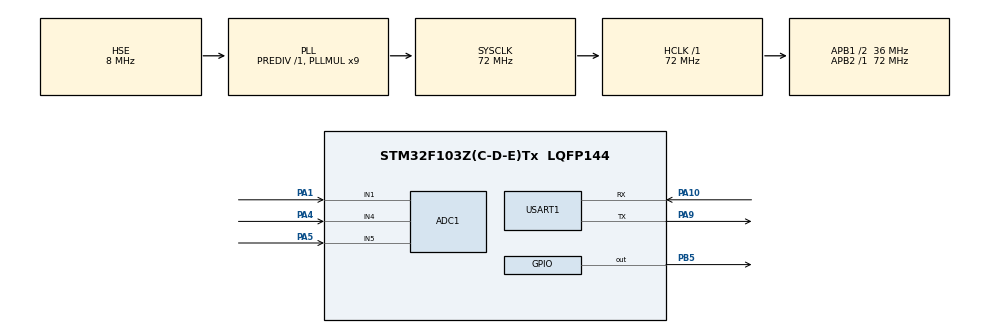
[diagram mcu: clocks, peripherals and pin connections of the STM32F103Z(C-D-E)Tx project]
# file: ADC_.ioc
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ADC1.Channel-0\#ChannelRegularConversion=ADC_CHANNEL_1
ADC1.Channel-1\#ChannelRegularConversion=ADC_CHANNEL_4
ADC1.Channel-2\#ChannelRegularConversion=ADC_CHANNEL_5
ADC1.Channel-3\#ChannelRegularConversion=ADC_CHANNEL_TEMPSENSOR
ADC1.Channel-4\#ChannelRegularConversion=ADC_CHANNEL_VREFINT
ADC1.ContinuousConvMode=DISABLE
ADC1.DiscontinuousConvMode=ENABLE
ADC1.EnableInjectedConversion=DISABLE
ADC1.NbrOfConversion=5
ADC1.NbrOfConversionFlag=1
ADC1.Rank-0\#ChannelRegularConversion=1
ADC1.Rank-1\#ChannelRegularConversion=2
ADC1.Rank-2\#ChannelRegularConversion=3
ADC1.Rank-3\#ChannelRegularConversion=4
ADC1.Rank-4\#ChannelRegularConversion=5
ADC1.SamplingTime-0\#ChannelRegularConversion=ADC_SAMPLETIME_1CYCLE_5
ADC1.SamplingTime-1\#ChannelRegularConversion=ADC_SAMPLETIME_1CYCLE_5
ADC1.SamplingTime-2\#ChannelRegularConversion=ADC_SAMPLETIME_1CYCLE_5
ADC1.SamplingTime-3\#ChannelRegularConversion=ADC_SAMPLETIME_1CYCLE_5
ADC1.SamplingTime-4\#ChannelRegularConversion=ADC_SAMPLETIME_1CYCLE_5
ADC1.master=1
Mcu.Family=STM32F1
Mcu.Name=STM32F103Z(C-D-E)Tx
Mcu.Package=LQFP144
NVIC.ADC1_2_IRQn=true\:3\:0\:true\:false\:true\:true\:true\:true
NVIC.PriorityGroup=NVIC_PRIORITYGROUP_4
NVIC.RCC_IRQn=true\:0\:0\:false\:false\:true\:true\:false\:true
NVIC.USART1_IRQn=true\:4\:0\:true\:false\:true\:true\:true\:true
OSC_IN.Mode=HSE-External-Oscillator
OSC_IN.Signal=RCC_OSC_IN
OSC_OUT.Mode=HSE-External-Oscillator
OSC_OUT.Signal=RCC_OSC_OUT
PA1.Signal=ADCx_IN1
PA10.GPIO_Mode=GPIO_MODE_INPUT
PA10.Mode=Asynchronous
PA10.Signal=USART1_RX
PA4.Signal=ADCx_IN4
PA5.Signal=ADCx_IN5
PA9.GPIO_Mode=GPIO_MODE_AF_PP
PA9.Mode=Asynchronous
PA9.Signal=USART1_TX
PB5.GPIO_Speed=GPIO_SPEED_FREQ_HIGH
PB5.PinState=GPIO_PIN_RESET
PB5.Signal=GPIO_Output
ProjectManager.HeapSize=0x200
ProjectManager.StackSize=0x400
ProjectManager.TargetToolchain=MDK-ARM V5.32
RCC.ADCPresc=RCC_ADCPCLK2_DIV6
RCC.AHBFreq_Value=72000000
RCC.APB1CLKDivider=RCC_HCLK_DIV2
RCC.APB1Freq_Value=36000000
RCC.APB1TimFreq_Value=72000000
RCC.APB2Freq_Value=72000000
RCC.APB2TimFreq_Value=72000000
RCC.EnbaleCSS=true
RCC.HCLKFreq_Value=72000000
RCC.PLLMUL=RCC_PLL_MUL9
RCC.PLLSourceVirtual=RCC_PLLSOURCE_HSE
RCC.SYSCLKFreq_VALUE=72000000
RCC.SYSCLKSource=RCC_SYSCLKSOURCE_PLLCLK
RCC.USBFreq_Value=72000000
SH.ADCx_IN1.0=ADC1_IN1,IN1
SH.ADCx_IN4.0=ADC1_IN4,IN4
SH.ADCx_IN5.0=ADC1_IN5,IN5
USART1.VirtualMode=VM_ASYNC
VP_ADC1_TempSens_Input.Mode=IN-TempSens
VP_ADC1_Vref_Input.Mode=IN-Vrefint
VP_SYS_VS_ND.Mode=No_Debug
board=custom

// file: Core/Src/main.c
/* USER CODE BEGIN Header */
/**
  ******************************************************************************
  * @file           : main.c
  * @brief          : Main program body
  ******************************************************************************
  * @attention
  *
  * Copyright (c) 2024 STMicroelectronics.
  * All rights reserved.
  *
  * This software is licensed under terms that can be found in the LICENSE file
  * in the root directory of this software component.
  * If no LICENSE file comes with this software, it is provided AS-IS.
  *
  ******************************************************************************
  */
/* USER CODE END Header */
#include "main.h"
#include "adc.h"
#include "usart.h"
#include "gpio.h"

/* USER CODE BEGIN Includes */

#include <stdio.h>
#include <string.h>

#include "bsp_adc\bsp_adc.h"

/* USER CODE END Includes */

/* USER CODE BEGIN PTD */
#define VALUE_MAX_LONG 5
uint32_t GetADC_Value[VALUE_MAX_LONG] = {0};
float Vout_value;
float Temp_Value;

/* USER CODE END PTD */

/* USER CODE BEGIN PV */

int fputc(int ch,FILE *f)

{

	HAL_UART_Transmit(&huart1,(uint8_t *)&ch,1,HAL_MAX_DELAY);

	return ch;

}

/* USER CODE END PV */

void SystemClock_Config(void);

int main(void)
{
  /* USER CODE BEGIN 1 */
	int i = 0;
  /* USER CODE END 1 */

  /* MCU Configuration--------------------------------------------------------*/

  /* Reset of all peripherals, Initializes the Flash interface and the Systick. */
  HAL_Init();

  /* Configure the system clock */
  SystemClock_Config();

  /* Initialize all configured peripherals */
  MX_GPIO_Init();
  MX_ADC1_Init();
  MX_USART1_UART_Init();
  /* USER CODE BEGIN 2 */
	printf("STM\r\n");
  /* USER CODE END 2 */

  /* Infinite loop */
  /* USER CODE BEGIN WHILE */
  while (1)
  {
		for(i = 0;i < 5;i++)
		{
			GetADC_Value[i] = ADC_X_Get();
		}

		Vout_value = GetADC_Value[3] / 4096.0 * 3.3;
		Temp_Value = (1.43 - GetADC_Value[4] *3.3f / 4096) /0.0043 + 25;

		printf("ADC PA1 read value : %d \r\n",GetADC_Value[0]);
		printf("ADC PA4 read value : %d \r\n",GetADC_Value[1]);
		printf("ADC PA5 read value : %d \r\n",GetADC_Value[2]);
		printf("change voltage value : %.2f \r\n",Vout_value);
		printf("change Temp value : %.4f \r\n",Temp_Value);
		printf("\r\n");
		printf("\r\n");
		HAL_GPIO_TogglePin(GPIOB,GPIO_PIN_5);
		HAL_Delay(5000);

    /* USER CODE END WHILE */

  }
}

void SystemClock_Config(void)
{
  RCC_OscInitTypeDef RCC_OscInitStruct = {0};
  RCC_ClkInitTypeDef RCC_ClkInitStruct = {0};
  RCC_PeriphCLKInitTypeDef PeriphClkInit = {0};

  /** Initializes the RCC Oscillators according to the specified parameters
  * in the RCC_OscInitTypeDef structure.
  */
  RCC_OscInitStruct.OscillatorType = RCC_OSCILLATORTYPE_HSE;
  RCC_OscInitStruct.HSEState = RCC_HSE_ON;
  RCC_OscInitStruct.HSEPredivValue = RCC_HSE_PREDIV_DIV1;
  RCC_OscInitStruct.HSIState = RCC_HSI_ON;
  RCC_OscInitStruct.PLL.PLLState = RCC_PLL_ON;
  RCC_OscInitStruct.PLL.PLLSource = RCC_PLLSOURCE_HSE;
  RCC_OscInitStruct.PLL.PLLMUL = RCC_PLL_MUL9;
  if (HAL_RCC_OscConfig(&RCC_OscInitStruct) != HAL_OK)
  {
    Error_Handler();
  }

  /** Initializes the CPU, AHB and APB buses clocks
  */
  RCC_ClkInitStruct.ClockType = RCC_CLOCKTYPE_HCLK|RCC_CLOCKTYPE_SYSCLK
                              |RCC_CLOCKTYPE_PCLK1|RCC_CLOCKTYPE_PCLK2;
  RCC_ClkInitStruct.SYSCLKSource = RCC_SYSCLKSOURCE_PLLCLK;
  RCC_ClkInitStruct.AHBCLKDivider = RCC_SYSCLK_DIV1;
  RCC_ClkInitStruct.APB1CLKDivider = RCC_HCLK_DIV2;
  RCC_ClkInitStruct.APB2CLKDivider = RCC_HCLK_DIV1;

  if (HAL_RCC_ClockConfig(&RCC_ClkInitStruct, FLASH_LATENCY_2) != HAL_OK)
  {
    Error_Handler();
  }
  PeriphClkInit.PeriphClockSelection = RCC_PERIPHCLK_ADC;
  PeriphClkInit.AdcClockSelection = RCC_ADCPCLK2_DIV6;
  if (HAL_RCCEx_PeriphCLKConfig(&PeriphClkInit) != HAL_OK)
  {
    Error_Handler();
  }

  /** Enables the Clock Security System
  */
  HAL_RCC_EnableCSS();
}

void Error_Handler(void)
{
  __disable_irq();
  while (1)
  {
  }
}
